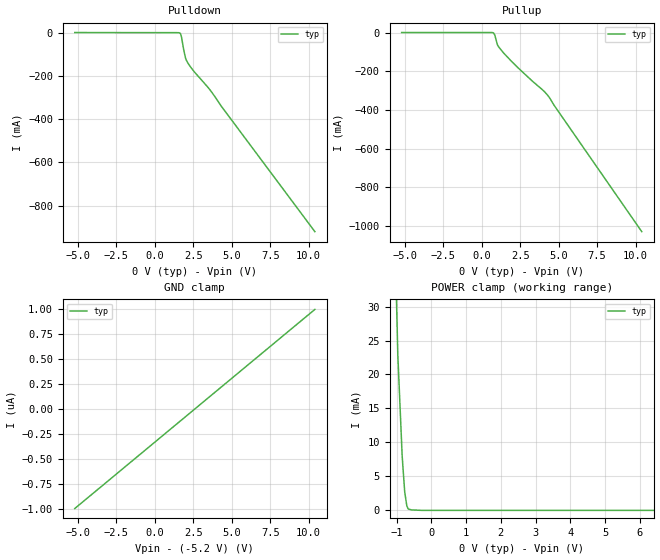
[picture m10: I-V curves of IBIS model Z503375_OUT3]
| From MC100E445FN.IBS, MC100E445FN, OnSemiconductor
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| (C) COPYRIGHT 1993-2000
| MENTOR GRAPHICS CORPORATION
| ICX STANDARD LIBRARY, ICX PROJECT MODELING,
| ICX CUSTOM MODELING, ICX VENDOR MODEL
| ALL RIGHTS RESERVED.
| THE FOLLOWING ARE TRADEMARKS OR SERVICE MARKS OF
| MENTOR GRAPHICS CORPORATION:ICX (R), ICX STANDARD
| LIBRARY(R), ICX PROJECT MODELING(R), ICX CUSTOM
| MODELING(R), qualityIBIS(TM), MODELVIEWER(TM),
| AND MODELEDITOR(TM)
| ALL COPIES OF SOFTWARE, INCLUDING BUT NOT LIMITED TO
| ANY MODIFICATIONS, ENHANCEMENTS OR DERIVATIVE WORKS,
| MUST CONTAIN ALL MENTOR GRAPHICS CORPORATION'S
| NOTICES AND LEGENDS, INCLUDING THOSE EMBEDDED IN
| SOFTWARE AND THOSE AFFIXED TO SOFTWARE MEDIUM
| AND CONTAINER, AS RECEIVED FROM MENTOR GRAPHICS
| CORPORATION.
| Model Application Version 1.89 2/18/99.
[Model] Z503375_OUT3
Model_type Output_ECL
Vref=-2.000V
Rref=50.00ohms
Cref=0.000F
Vmeas=-1.320V
C_comp 8.000pF NA NA
| variable typ   min   max
[Voltage Range] -5.200V NA NA
[POWER Clamp Reference] 0.000V NA NA
[Pullup Reference] 0.000V NA NA
[Pulldown Reference] 0.000V NA NA
[GND Clamp Reference] -5.200V NA NA
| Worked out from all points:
|   POWER clamp passes 1 mA (typ) near -0.72 V on its own axis
[GND Clamp]
-5.2V     -1uA       NA         NA
10.4V     1uA        NA         NA
[Pulldown]
-5.2V     541.9uA    NA         NA
1.464V    -45.05uA   NA         NA
1.66V     -4.13mA    NA         NA
1.738V    -21.8mA    NA         NA
1.875V    -78.36mA   NA         NA
1.992V    -116.2mA   NA         NA
2.148V    -140.7mA   NA         NA
2.598V    -184mA     NA         NA
3.627V    -268.6mA   NA         NA
4.322V    -340.5mA   NA         NA
10.4V     -920.6mA   NA         NA
[Pullup]
-5.2V     19.24uA    NA         NA
766.5mV   -1.685mA   NA         NA
850.3mV   -12.69mA   NA         NA
1.016V    -61.99mA   NA         NA
1.426V    -106mA     NA         NA
2.398V    -185.1mA   NA         NA
3.936V    -295mA     NA         NA
4.301V    -325.9mA   NA         NA
4.703V    -376.2mA   NA         NA
10.4V     -1.03A     NA         NA
[POWER Clamp]
-5.2V     1.64A      NA         NA
-1.181V   80.18mA    NA         NA
-1.06V    42.98mA    NA         NA
-965.6mV  22.96mA    NA         NA
-839.8mV  8.004mA    NA         NA
-767.2mV  2.733mA    NA         NA
-707.4mV  702.6uA    NA         NA
-668.8mV  209.7uA    NA         NA
-571.3mV  68.64uA    NA         NA
-285.7mV  0A         NA         NA
10.4V     0A         NA         NA
[Ramp]
| variable typ min max
dV/dt_r 493.7m/186.7p NA NA
dV/dt_f 493.7m/166.7p NA NA
R_load = 500.0Ohms
